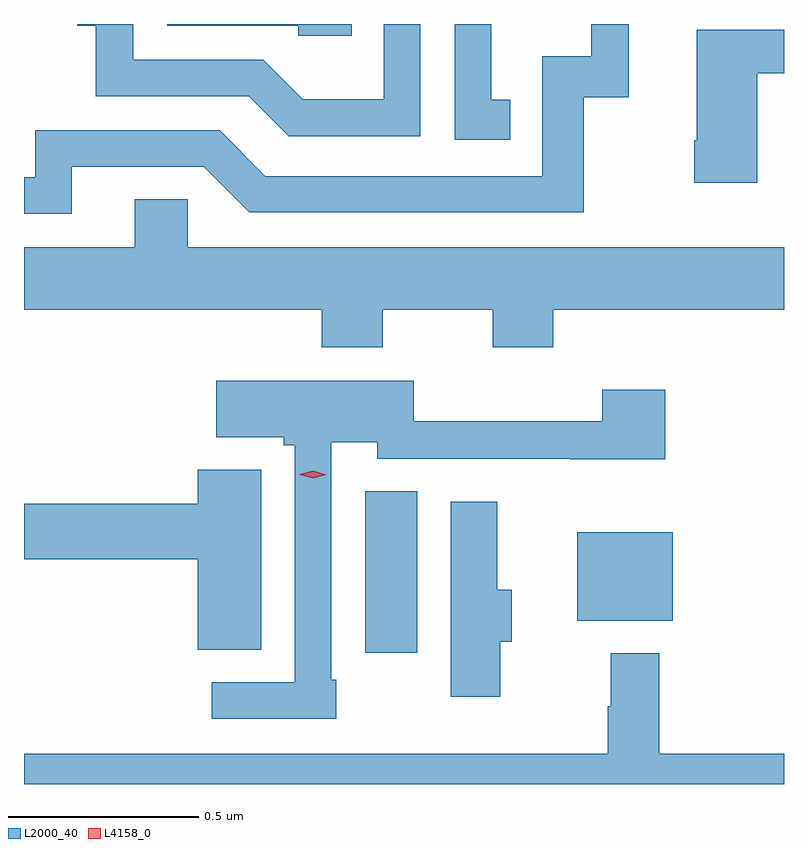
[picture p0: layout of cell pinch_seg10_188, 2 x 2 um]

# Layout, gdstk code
import gdstk
lib = gdstk.Library(unit=1e-6, precision=1e-09)
def R(c, l, rs):  # rectangles x0, y0, x1, y1
    for r in rs: c.add(gdstk.rectangle(r[:2], r[2:], *l))
def P(c, l, *ps):  # polygons
    for p in ps: c.add(gdstk.Polygon(p, *l))
L2000_40 = (2000, 40)
L4158_0 = (4158, 0)

pinch_seg10_188 = lib.new_cell('pinch_seg10_188')
R(pinch_seg10_188, L2000_40, [(701.267,1258.122,701.404,1258.547), (701.825,1258.205,702.076,1258.438)])
P(pinch_seg10_188, L2000_40, [(701.648,1259.577),(701.599,1259.577),(701.599,1259.776),(701.502,1259.776),(701.502,1259.472),(701.648,1259.472)],
  [(700.495,1259.4),(700.842,1259.4),(700.962,1259.28),(701.842,1259.28),(701.842,1259.583),(701.96,1259.583),(701.96,1259.776),(701.862,1259.776),(701.862,1259.691),(701.733,1259.691),(701.733,1259.376),(701.004,1259.376),(700.884,1259.496),(700.398,1259.496),(700.398,1259.373),(700.369,1259.373),(700.369,1259.277),(700.495,1259.277)],
  [(701.231,1259.776),(700.746,1259.776),(700.746,1259.772),(701.091,1259.772),(701.091,1259.745),(701.231,1259.745)],
  [(701.412,1259.776),(701.316,1259.776),(701.316,1259.578),(701.102,1259.578),(700.998,1259.682),(700.656,1259.682),(700.656,1259.776),(700.509,1259.776),(700.509,1259.771),(700.558,1259.771),(700.558,1259.586),(700.961,1259.586),(701.066,1259.481),(701.412,1259.481)],
  [(702.298,1259.647),(702.369,1259.647),(702.369,1259.761),(702.14,1259.761),(702.14,1259.47),(702.133,1259.47),(702.133,1259.358),(702.298,1259.358)],
  [(701.313,1259.024),(701.602,1259.024),(701.602,1258.925),(701.762,1258.925),(701.762,1259.024),(702.369,1259.024),(702.369,1259.188),(700.8,1259.188),(700.8,1259.315),(700.661,1259.315),(700.661,1259.188),(700.369,1259.188),(700.369,1259.024),(701.153,1259.024),(701.153,1258.925),(701.313,1258.925)],
  [(701.191,1258.051),(701.178,1258.051),(701.178,1258.676),(701.298,1258.676),(701.298,1258.632),(701.807,1258.632),(701.807,1258.631),(702.056,1258.631),(702.056,1258.813),(701.891,1258.813),(701.891,1258.73),(701.394,1258.73),(701.394,1258.837),(700.875,1258.837),(700.875,1258.688),(701.052,1258.688),(701.052,1258.667),(701.082,1258.667),(701.082,1258.044),(700.863,1258.044),(700.863,1257.948),(701.191,1257.948)],
  [(700.993,1258.603),(700.826,1258.603),(700.826,1258.514),(700.369,1258.514),(700.369,1258.367),(700.826,1258.367),(700.826,1258.129),(700.993,1258.129)],
  [(701.622,1258.15),(701.653,1258.15),(701.653,1258.287),(701.614,1258.287),(701.614,1258.519),(701.492,1258.519),(701.492,1258.005),(701.622,1258.005)],
  [(702.369,1257.856),(702.041,1257.856),(702.041,1258.12),(701.913,1258.12),(701.913,1257.98),(701.905,1257.98),(701.905,1257.856),(700.369,1257.856),(700.369,1257.776),(702.369,1257.776)])
P(pinch_seg10_188, L4158_0, [(701.13,1258.58),(701.095,1258.59),(701.095,1258.59),(701.095,1258.591),(701.13,1258.6),(701.165,1258.59),(701.165,1258.59),(701.165,1258.59)])

lib.write_gds('pinch_seg10_188.gds')
